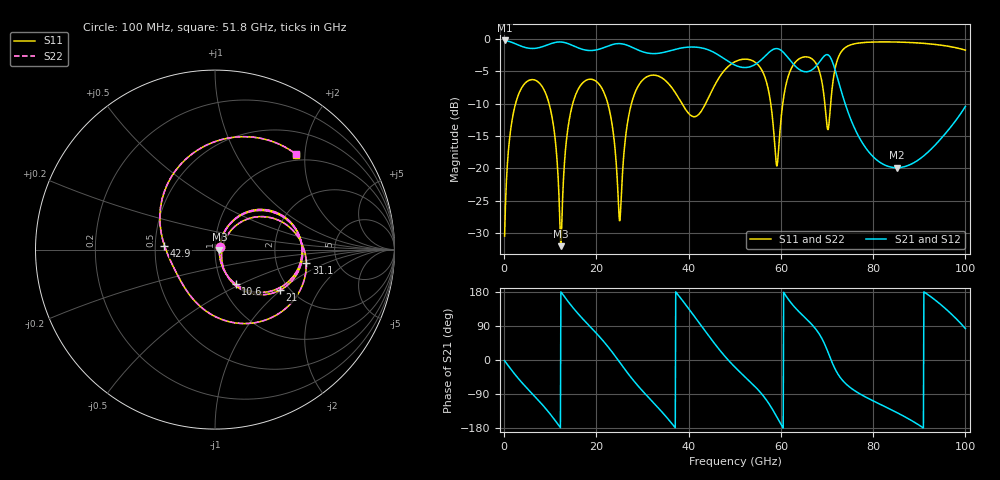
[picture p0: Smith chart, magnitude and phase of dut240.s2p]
! Touchstone file exported from HFSS 2026.1.0
!  File:  C:/ffzhzh/LocalFiles/Ansys_Project_Files/temp_train_TSV_RDL_240_1783667223_29156.aedt
!  Generated:  03:28:32 PM Jul 10, 2026
!  Design:  TSV_RDL
!  Project:  temp_train_TSV_RDL_240_1783667223_29156
! Variables:
!  h_bsmrdl = 3.79um
!  h_ox = 20um
!  h_rdl = 5um
!  h_sub = 76.72um
!  h_tmrdl = 2.92um
!  h_tsv = 76.72um
!  h_via = 3um
!  l_bsmrdl = 500.19um
!  l_sub = 4781.3um
!  l_tmrdl = 691.03um
!  m_sub = 200um
!  pitch = 47.01um
!  r_tsv = 13.45um
!  s_tmrdl = 10um
!  w_bsmrdl = 11.35um
!  w_sub = 500um
!  w_tmrdl = 27.52um
!  x_tsv_center1 = 704.79um
!  x_tsv_center2 = 1216.33um
!  x_tsv_center3 = 1934.88um
!  x_tsv_center4 = 2446.42um
!  x_tsv_center5 = 3164.97um
!  x_tsv_center6 = 3676.51um
# GHz S MA R 50.000000
! Terminal data exported
! Port[1] = TM_RDL1_1_T1
! Port[2] = TM_RDL5_1_T1
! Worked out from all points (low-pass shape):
!   1000 points, 100 MHz to 100 GHz, reference 50 ohm
!   highest |S21| = -0.22 dB at 100 MHz (marker M1); lowest = -19.9 dB at 85.1 GHz (marker M2)
!   |S21| within 3 dB of the highest: start of sweep to 48.05 GHz; 55.73 GHz to 61.92 GHz (6.189 GHz wide, 10.5 % of centre) (the widest 2 of 3)
!   lowest |S11| = -32.0 dB at 12.3 GHz (marker M3), VSWR 1.05, Z = 52.6 + j0.00826 ohm
!   |S11| at or under -10 dB: 9.74 GHz to 14.87 GHz (5.13 GHz wide, 41.7 % of centre); 22.48 GHz to 27.6 GHz (5.118 GHz wide, 20.4 % of centre); 38.56 GHz to 43.67 GHz (5.108 GHz wide, 12.4 % of centre) (the widest 3 of 6)
!   |S22| runs from -32.2 to -0.4 dB; largest |S21 - S12| = 6.8e-14
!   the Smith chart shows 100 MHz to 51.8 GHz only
!   S11 on the Smith chart (normalised r, x): 100 MHz: 1.05, +0.03; 10.6 GHz: 1.16, -0.47; 21 GHz: 1.78, -0.99; 31.1 GHz: 2.98, -0.60; 42.9 GHz: 0.56, +0.03; 51.8 GHz: 0.89, +1.83
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0.1  0.02997 30.8  0.9746 -1.8  0.9746 -1.8  0.02997 30.8
! Gamma 0 0 0 0
! Port Impedance 50 0 50 0
3.6  0.407 29.8  0.8832 -56.2  0.8832 -56.2  0.407 29.8
10.6  0.2244 -59.0  0.9318 -152.4  0.9318 -152.4  0.2244 -59.1
12.3  0.025 0.2  0.9483 179.8  0.9483 179.8  0.02463 0.1
16.8  0.4486 18.7  0.8357 111.8  0.8357 111.8  0.4486 18.8
21  0.4267 -32.1  0.8429 57.0  0.8429 57.0  0.4267 -32.0
25.1  0.03942 1.7  0.9212 -6.9  0.9212 -6.9  0.03953 1.6
31.1  0.5139 -8.2  0.7788 -96.2  0.7788 -96.2  0.5138 -8.2
33.4  0.5173 -36.4  0.7748 -126.2  0.7748 -126.2  0.5172 -36.4
38.2  0.3323 -102.9  0.8496 164.3  0.8496 164.3  0.3322 -102.7
42.9  0.2823 175.5  0.8523 87.9  0.8523 87.9  0.2822 175.8
50.1  0.6689 68.2  0.6265 -19.6  0.6265 -19.6  0.6688 68.3
51.8  0.6974 49.4  0.6026 -39.7  0.6026 -39.7  0.6974 49.5
57.1  0.4327 -10.2  0.7692 -109.8  0.7692 -109.8  0.4328 -10.1
59.9  0.2149 73.4  0.824 -167.2  0.824 -167.2  0.215 73.3
66.7  0.7039 6.4  0.5764 93.8  0.5764 93.8  0.7037 6.3
70.6  0.2606 45.0  0.7323 8.7  0.7323 8.7  0.2564 45.7
75.2  0.9031 8.7  0.2369 -74.2  0.2369 -74.2  0.9028 8.9
83.4  0.9498 -39.1  0.1032 -128.1  0.1032 -128.1  0.9498 -39.0
85.1  0.9476 -48.6  0.1011 -138.4  0.1011 -138.4  0.9477 -48.5
93.2  0.91 -106.3  0.1482 160.6  0.1482 160.6  0.9103 -106.2
100  0.8206 177.9  0.3011 82.9  0.3011 82.9  0.8207 177.9
